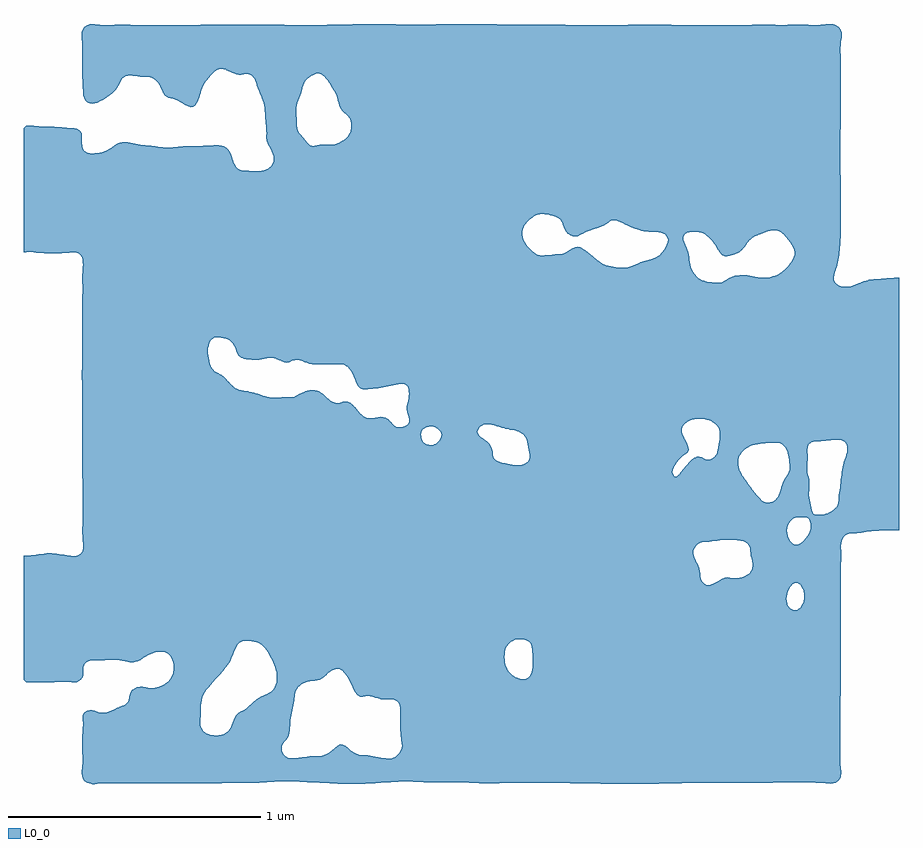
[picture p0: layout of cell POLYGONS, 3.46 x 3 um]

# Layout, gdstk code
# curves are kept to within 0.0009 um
import gdstk
lib = gdstk.Library(unit=1e-6, precision=1e-09)
def R(c, l, rs):  # rectangles x0, y0, x1, y1
    for r in rs: c.add(gdstk.rectangle(r[:2], r[2:], *l))
def P(c, l, *ps):  # polygons
    for p in ps: c.add(gdstk.Polygon(p, *l))
L0_0 = (0, 0)

polygons = lib.new_cell('POLYGONS')
R(polygons, L0_0, [(-1.41,-1.36,-1.16,-1.26), (-0.63,-1,-0.45,-0.77), (-0.45,-1,-0.22,-0.77), (-1.5,-0.77,-1.41,-0.59), (-1.41,-0.77,-1.16,-0.59), (-1.16,-0.77,-0.947,-0.59), (-0.947,-0.77,-0.78,-0.59), (-0.78,-0.77,-0.63,-0.59), (-0.63,-0.77,-0.45,-0.59), (-0.45,-0.77,-0.22,-0.59), (-0.22,-0.77,0.173,-0.59), (0.173,-0.77,0.43,-0.59), (0.43,-0.77,0.87,-0.59), (-1.41,-0.59,-1.16,-0.5), (-1.16,-0.59,-0.947,-0.5), (-0.947,-0.59,-0.78,-0.5), (-0.78,-0.59,-0.63,-0.5), (-0.63,-0.59,-0.45,-0.5), (-0.45,-0.59,-0.22,-0.5), (-0.22,-0.59,0.173,-0.5), (0.173,-0.59,0.43,-0.5), (0.43,-0.59,0.87,-0.5), (-1.41,-0.5,-1.16,-0.27), (-1.16,-0.5,-0.947,-0.27), (-0.947,-0.5,-0.78,-0.27), (-0.78,-0.5,-0.63,-0.27), (-0.63,-0.5,-0.45,-0.27), (-0.45,-0.5,-0.22,-0.27), (-0.22,-0.5,0.173,-0.27), (0.173,-0.5,0.43,-0.27), (-1.41,-0.27,-1.16,-0.12), (-1.16,-0.27,-0.947,-0.12), (-0.947,-0.27,-0.78,-0.12), (-0.78,-0.27,-0.63,-0.12), (-0.63,-0.27,-0.45,-0.12), (-0.45,-0.27,-0.22,-0.12), (-1.5,-0.12,-1.41,0.21), (-1.41,-0.12,-1.16,0.21), (-1.41,0.21,-1.16,0.67)])
P(polygons, L0_0, [(-1.5,1.475),(-1.5,1.475),(-1.501,1.47),(-1.502,1.46),(-1.502,1.45),(-1.501,1.44),(-1.5,1.432),(-1.5,1.431)],
  [(-1.5,1.351),(-1.5,1.35),(-1.5,1.341),(-1.5,1.34),(-1.5,1.333),(-1.5,1.33),(-1.5,1.323)],
  [(-1.72,0.599),(-1.69,0.599),(-1.63,0.595),(-1.6,0.595),(-1.53,0.599),(-1.52,0.598),(-1.51,0.593),(-1.506,0.59),(-1.5,0.581),(-1.5,1.02),(-1.502,1.03),(-1.501,1.06),(-1.502,1.07),(-1.508,1.08),(-1.52,1.087),(-1.53,1.09),(-1.55,1.09),(-1.61,1.095),(-1.66,1.096),(-1.7,1.1),(-1.72,1.1),(-1.73,1.09),(-1.73,0.6)],
  [(-1.5,0.19),(-1.5,0.14),(-1.501,0.13),(-1.501,0.1),(-1.5,0.09),(-1.5,-0.21)],
  [(-1.52,-0.6),(-1.54,-0.601),(-1.59,-0.593),(-1.62,-0.59),(-1.64,-0.59),(-1.68,-0.596),(-1.73,-0.6),(-1.73,-1.09),(-1.72,-1.1),(-1.6,-1.098),(-1.55,-1.098),(-1.53,-1.1),(-1.52,-1.099),(-1.51,-1.094),(-1.505,-1.09),(-1.5,-1.083),(-1.5,-0.584),(-1.503,-0.59),(-1.51,-0.596)],
  [(-1.5,-1.323),(-1.5,-1.326),(-1.5,-1.33),(-1.5,-1.34),(-1.5,-1.35),(-1.5,-1.35),(-1.5,-1.354)],
  [(-1.5,-1.438),(-1.5,-1.44),(-1.5,-1.44),(-1.501,-1.45),(-1.501,-1.46),(-1.5,-1.47),(-1.5,-1.47),(-1.5,-1.471)],
  [(-1.45,1.188),(-1.44,1.191),(-1.41,1.207),(-1.41,1.498),(-1.46,1.502),(-1.47,1.501),(-1.48,1.498),(-1.49,1.492),(-1.5,1.475),(-1.499,1.42),(-1.5,1.32),(-1.496,1.23),(-1.495,1.22),(-1.492,1.21),(-1.487,1.2),(-1.48,1.192),(-1.47,1.188),(-1.46,1.187)],
  [(-1.41,0.999),(-1.44,0.992),(-1.46,0.99),(-1.48,0.993),(-1.491,1),(-1.497,1.01),(-1.5,1.019),(-1.5,0.67),(-1.41,0.67)],
  [(-1.41,0.67),(-1.5,0.67),(-1.5,0.58),(-1.497,0.57),(-1.496,0.55),(-1.499,0.51),(-1.498,0.44),(-1.499,0.43),(-1.5,0.21),(-1.41,0.21)],
  [(-1.499,-0.29),(-1.497,-0.35),(-1.497,-0.46),(-1.499,-0.51),(-1.497,-0.53),(-1.496,-0.57),(-1.5,-0.584),(-1.5,-0.59),(-1.41,-0.59),(-1.41,-0.12),(-1.5,-0.12)],
  [(-1.498,-1.08),(-1.495,-1.07),(-1.496,-1.05),(-1.495,-1.04),(-1.492,-1.03),(-1.483,-1.02),(-1.48,-1.018),(-1.46,-1.013),(-1.41,-1.012),(-1.41,-0.77),(-1.5,-0.77),(-1.5,-1.083)],
  [(-1.497,-1.28),(-1.5,-1.32),(-1.5,-1.36),(-1.498,-1.39),(-1.5,-1.471),(-1.497,-1.48),(-1.49,-1.491),(-1.472,-1.5),(-1.46,-1.502),(-1.45,-1.502),(-1.41,-1.499),(-1.41,-1.22),(-1.42,-1.221),(-1.43,-1.22),(-1.45,-1.212),(-1.46,-1.21),(-1.47,-1.21),(-1.48,-1.213),(-1.49,-1.219),(-1.497,-1.23),(-1.498,-1.24),(-1.496,-1.26)],
  [(-1.405,1.21),(-1.38,1.229),(-1.369,1.24),(-1.361,1.25),(-1.34,1.287),(-1.33,1.295),(-1.32,1.298),(-1.31,1.299),(-1.27,1.294),(-1.23,1.292),(-1.22,1.288),(-1.21,1.282),(-1.198,1.27),(-1.192,1.26),(-1.179,1.23),(-1.172,1.22),(-1.16,1.211),(-1.16,1.497),(-1.31,1.499),(-1.41,1.498),(-1.41,1.207)],
  [(-1.16,1.013),(-1.17,1.013),(-1.27,1.024),(-1.32,1.034),(-1.34,1.035),(-1.35,1.033),(-1.357,1.03),(-1.39,1.008),(-1.41,0.999),(-1.41,0.67),(-1.16,0.67)],
  [(-1.296,-1.02),(-1.28,-1.017),(-1.24,-0.993),(-1.21,-0.982),(-1.2,-0.98),(-1.18,-0.979),(-1.17,-0.982),(-1.16,-0.987),(-1.16,-0.77),(-1.41,-0.77),(-1.41,-1.011),(-1.37,-1.01),(-1.35,-1.012),(-1.32,-1.019)],
  [(-1.16,-1.097),(-1.18,-1.112),(-1.2,-1.12),(-1.21,-1.122),(-1.23,-1.123),(-1.26,-1.118),(-1.27,-1.118),(-1.283,-1.12),(-1.3,-1.129),(-1.308,-1.14),(-1.31,-1.145),(-1.315,-1.17),(-1.32,-1.179),(-1.33,-1.188),(-1.37,-1.206),(-1.4,-1.218),(-1.41,-1.22),(-1.41,-1.26),(-1.16,-1.26)],
  [(-1.16,-1.36),(-1.41,-1.36),(-1.41,-1.499),(-1.16,-1.5)],
  [(-1.06,1.174),(-1.05,1.182),(-1.04,1.202),(-1.025,1.25),(-1.01,1.276),(-0.982,1.31),(-0.97,1.32),(-0.96,1.324),(-0.947,1.325),(-0.947,1.5),(-1.16,1.497),(-1.16,1.211),(-1.13,1.203),(-1.08,1.176),(-1.07,1.173)],
  [(-0.947,1.02),(-0.96,1.022),(-0.98,1.022),(-1.03,1.019),(-1.09,1.019),(-1.16,1.013),(-1.16,0.67),(-0.947,0.67)],
  [(-1.002,0.22),(-0.998,0.24),(-0.99,0.254),(-0.982,0.26),(-0.97,0.264),(-0.947,0.262),(-0.947,0.67),(-1.16,0.67),(-1.16,0.21),(-1.002,0.21)],
  [(-0.947,0.113),(-0.95,0.116),(-0.97,0.125),(-0.977,0.13),(-0.99,0.146),(-0.998,0.17),(-1,0.18),(-1.002,0.21),(-1.16,0.21),(-1.16,-0.12),(-0.947,-0.12)],
  [(-1.032,-1.25),(-1.03,-1.23),(-1.03,-1.19),(-1.025,-1.16),(-1.015,-1.14),(-1.008,-1.13),(-0.98,-1.095),(-0.947,-1.06),(-0.947,-0.77),(-1.16,-0.77),(-1.16,-0.987),(-1.15,-0.998),(-1.144,-1.01),(-1.14,-1.02),(-1.137,-1.04),(-1.137,-1.05),(-1.142,-1.07),(-1.153,-1.09),(-1.16,-1.097),(-1.16,-1.26),(-1.033,-1.26)],
  [(-0.947,-1.308),(-0.97,-1.311),(-0.99,-1.309),(-1,-1.306),(-1.012,-1.3),(-1.023,-1.29),(-1.032,-1.27),(-1.033,-1.26),(-1.16,-1.26),(-1.16,-1.36),(-0.947,-1.36)],
  [(-1.14,-1.5),(-0.947,-1.499),(-0.947,-1.36),(-1.16,-1.36),(-1.16,-1.5)],
  [(-0.78,1.5),(-0.947,1.5),(-0.947,1.325),(-0.93,1.321),(-0.91,1.311),(-0.89,1.303),(-0.87,1.302),(-0.85,1.305),(-0.84,1.304),(-0.83,1.299),(-0.82,1.289),(-0.816,1.28),(-0.806,1.25),(-0.785,1.2),(-0.78,1.181)],
  [(-0.78,0.923),(-0.797,0.92),(-0.82,0.919),(-0.84,0.921),(-0.86,0.921),(-0.87,0.923),(-0.88,0.927),(-0.89,0.936),(-0.899,0.95),(-0.91,0.983),(-0.918,1),(-0.93,1.012),(-0.94,1.018),(-0.947,1.02),(-0.947,0.67),(-0.78,0.67)],
  [(-0.8,0.174),(-0.78,0.178),(-0.78,0.67),(-0.947,0.67),(-0.947,0.262),(-0.93,0.258),(-0.92,0.253),(-0.904,0.24),(-0.893,0.22),(-0.886,0.2),(-0.88,0.19),(-0.87,0.183),(-0.86,0.179),(-0.85,0.177),(-0.82,0.174)],
  [(-0.78,0.031),(-0.83,0.047),(-0.88,0.056),(-0.9,0.067),(-0.914,0.08),(-0.942,0.11),(-0.947,0.113),(-0.947,-0.12),(-0.78,-0.12)],
  [(-0.94,-1.052),(-0.917,-1.02),(-0.89,-0.959),(-0.884,-0.95),(-0.872,-0.94),(-0.86,-0.936),(-0.84,-0.936),(-0.82,-0.939),(-0.8,-0.946),(-0.79,-0.952),(-0.78,-0.961),(-0.78,-0.77),(-0.947,-0.77),(-0.947,-1.06)],
  [(-0.78,-1.152),(-0.81,-1.167),(-0.82,-1.175),(-0.85,-1.204),(-0.87,-1.214),(-0.89,-1.23),(-0.901,-1.25),(-0.91,-1.275),(-0.92,-1.291),(-0.93,-1.3),(-0.947,-1.308),(-0.947,-1.36),(-0.78,-1.36)],
  [(-0.94,-1.498),(-0.83,-1.498),(-0.78,-1.495),(-0.78,-1.36),(-0.947,-1.36),(-0.947,-1.499)],
  [(-0.775,1.14),(-0.771,1.09),(-0.77,1.043),(-0.766,1.03),(-0.746,0.99),(-0.743,0.98),(-0.742,0.96),(-0.752,0.94),(-0.764,0.93),(-0.78,0.923),(-0.78,0.67),(-0.63,0.67),(-0.63,1.057),(-0.641,1.07),(-0.647,1.08),(-0.65,1.09),(-0.654,1.15),(-0.654,1.17),(-0.652,1.18),(-0.646,1.2),(-0.634,1.23),(-0.63,1.246),(-0.63,1.498),(-0.78,1.5),(-0.78,1.18)],
  [(-0.77,0.181),(-0.76,0.183),(-0.75,0.183),(-0.74,0.181),(-0.713,0.17),(-0.69,0.164),(-0.68,0.166),(-0.66,0.173),(-0.65,0.174),(-0.64,0.173),(-0.63,0.17),(-0.63,0.67),(-0.78,0.67),(-0.78,0.178)],
  [(-0.63,0.045),(-0.657,0.03),(-0.67,0.026),(-0.7,0.027),(-0.72,0.025),(-0.75,0.025),(-0.76,0.026),(-0.78,0.031),(-0.78,-0.12),(-0.63,-0.12)],
  [(-0.74,-1.03),(-0.731,-1.06),(-0.73,-1.07),(-0.73,-1.09),(-0.731,-1.1),(-0.734,-1.11),(-0.738,-1.12),(-0.75,-1.135),(-0.756,-1.14),(-0.77,-1.148),(-0.78,-1.152),(-0.78,-1.36),(-0.711,-1.36),(-0.71,-1.35),(-0.704,-1.34),(-0.687,-1.32),(-0.682,-1.31),(-0.678,-1.29),(-0.676,-1.25),(-0.657,-1.14),(-0.647,-1.12),(-0.64,-1.113),(-0.63,-1.106),(-0.63,-0.77),(-0.78,-0.77),(-0.78,-0.961),(-0.76,-0.99)],
  [(-0.77,-1.495),(-0.71,-1.491),(-0.67,-1.491),(-0.63,-1.494),(-0.63,-1.397),(-0.67,-1.401),(-0.68,-1.401),(-0.69,-1.397),(-0.7,-1.389),(-0.706,-1.38),(-0.71,-1.37),(-0.711,-1.36),(-0.78,-1.36),(-0.78,-1.495)],
  [(-0.626,1.26),(-0.616,1.28),(-0.61,1.286),(-0.59,1.299),(-0.58,1.304),(-0.57,1.307),(-0.56,1.306),(-0.55,1.301),(-0.54,1.293),(-0.529,1.28),(-0.504,1.24),(-0.494,1.22),(-0.484,1.18),(-0.48,1.17),(-0.472,1.16),(-0.45,1.14),(-0.45,1.5),(-0.5,1.5),(-0.56,1.497),(-0.63,1.498),(-0.63,1.246)],
  [(-0.45,1.056),(-0.456,1.05),(-0.471,1.04),(-0.49,1.03),(-0.5,1.027),(-0.52,1.024),(-0.55,1.025),(-0.59,1.019),(-0.6,1.023),(-0.608,1.03),(-0.63,1.057),(-0.63,0.67),(-0.45,0.67)],
  [(-0.45,0.67),(-0.63,0.67),(-0.63,0.17),(-0.62,0.166),(-0.601,0.16),(-0.58,0.157),(-0.49,0.158),(-0.47,0.157),(-0.46,0.154),(-0.45,0.147)],
  [(-0.45,0.008),(-0.46,0.009),(-0.47,0.008),(-0.49,0.003),(-0.5,0.004),(-0.52,0.014),(-0.55,0.041),(-0.56,0.048),(-0.57,0.052),(-0.59,0.055),(-0.6,0.054),(-0.618,0.05),(-0.63,0.045),(-0.63,-0.12),(-0.45,-0.12)],
  [(-0.62,-1.102),(-0.6,-1.095),(-0.57,-1.092),(-0.56,-1.089),(-0.544,-1.08),(-0.52,-1.058),(-0.5,-1.048),(-0.49,-1.047),(-0.48,-1.049),(-0.47,-1.055),(-0.46,-1.066),(-0.45,-1.081),(-0.45,-1),(-0.63,-1),(-0.63,-1.106)],
  [(-0.45,-1.359),(-0.46,-1.351),(-0.47,-1.346),(-0.48,-1.345),(-0.49,-1.35),(-0.52,-1.376),(-0.53,-1.383),(-0.54,-1.387),(-0.56,-1.392),(-0.6,-1.393),(-0.63,-1.397),(-0.63,-1.494),(-0.57,-1.496),(-0.49,-1.501),(-0.45,-1.501)],
  [(-0.22,1.5),(-0.26,1.501),(-0.45,1.5),(-0.45,1.14),(-0.44,1.126),(-0.436,1.11),(-0.435,1.1),(-0.436,1.09),(-0.441,1.07),(-0.45,1.056),(-0.45,0.67),(-0.22,0.67)],
  [(-0.37,0.059),(-0.33,0.063),(-0.24,0.08),(-0.23,0.08),(-0.22,0.077),(-0.22,0.67),(-0.45,0.67),(-0.45,0.147),(-0.44,0.136),(-0.43,0.12),(-0.41,0.072),(-0.4,0.062),(-0.39,0.058)],
  [(-0.22,-0.086),(-0.229,-0.09),(-0.24,-0.092),(-0.25,-0.092),(-0.26,-0.09),(-0.27,-0.083),(-0.291,-0.06),(-0.3,-0.055),(-0.31,-0.052),(-0.32,-0.051),(-0.36,-0.057),(-0.37,-0.056),(-0.38,-0.053),(-0.4,-0.038),(-0.43,-0.002),(-0.44,0.005),(-0.45,0.008),(-0.45,-0.12),(-0.22,-0.12)],
  [(-0.44,-1.501),(-0.38,-1.501),(-0.26,-1.493),(-0.22,-1.492),(-0.22,-1),(-0.45,-1),(-0.45,-1.081),(-0.444,-1.09),(-0.434,-1.11),(-0.426,-1.13),(-0.42,-1.14),(-0.41,-1.152),(-0.4,-1.157),(-0.39,-1.158),(-0.37,-1.154),(-0.36,-1.155),(-0.34,-1.162),(-0.32,-1.167),(-0.27,-1.168),(-0.26,-1.171),(-0.248,-1.18),(-0.244,-1.19),(-0.243,-1.2),(-0.242,-1.29),(-0.235,-1.35),(-0.237,-1.36),(-0.241,-1.37),(-0.25,-1.385),(-0.26,-1.394),(-0.27,-1.399),(-0.28,-1.402),(-0.31,-1.4),(-0.36,-1.39),(-0.4,-1.388),(-0.422,-1.38),(-0.437,-1.37),(-0.45,-1.359),(-0.45,-1.501)],
  [(0.173,1.5),(0.03,1.502),(-0.22,1.5),(-0.22,0.67),(0.173,0.67)],
  [(-0.079,-0.12),(-0.08,-0.13),(-0.084,-0.14),(-0.09,-0.148),(-0.1,-0.157),(-0.11,-0.161),(-0.12,-0.163),(-0.14,-0.16),(-0.153,-0.15),(-0.158,-0.14),(-0.161,-0.12),(-0.22,-0.12),(-0.22,-0.27),(0.173,-0.27),(0.173,-0.235),(0.15,-0.229),(0.14,-0.224),(0.13,-0.216),(0.126,-0.21),(0.123,-0.2),(0.123,-0.19),(0.118,-0.17),(0.112,-0.16),(0.1,-0.148),(0.08,-0.134),(0.07,-0.125),(0.066,-0.12),(0.063,-0.11),(0.066,-0.1),(0.073,-0.09),(0.08,-0.085),(0.09,-0.081),(0.098,-0.08),(0.11,-0.08),(0.13,-0.084),(0.173,-0.097),(0.173,0.67),(-0.22,0.67),(-0.22,0.077),(-0.213,0.07),(-0.209,0.06),(-0.207,0.04),(-0.209,0.02),(-0.216,-0.01),(-0.216,-0.02),(-0.215,-0.03),(-0.208,-0.05),(-0.206,-0.06),(-0.207,-0.07),(-0.21,-0.079),(-0.22,-0.086),(-0.22,-0.12),(-0.161,-0.12),(-0.159,-0.11),(-0.15,-0.097),(-0.134,-0.09),(-0.12,-0.088),(-0.11,-0.089),(-0.1,-0.093),(-0.091,-0.1),(-0.082,-0.11)],
  [(0.17,-0.99),(0.17,-0.986),(0.171,-0.98),(0.173,-0.97),(0.173,-0.969),(0.173,-0.77),(-0.22,-0.77),(-0.22,-1),(0.169,-1)],
  [(0.11,-1.499),(0.173,-1.498),(0.173,-1.03),(0.169,-1),(-0.22,-1),(-0.22,-1.492),(-0.12,-1.496),(0.02,-1.496),(0.04,-1.498)],
  [(0.43,1.498),(0.31,1.5),(0.173,1.5),(0.173,0.67),(0.241,0.67),(0.241,0.68),(0.246,0.7),(0.251,0.71),(0.259,0.72),(0.27,0.73),(0.29,0.744),(0.31,0.751),(0.32,0.752),(0.34,0.75),(0.373,0.74),(0.38,0.737),(0.39,0.73),(0.4,0.714),(0.404,0.7),(0.41,0.686),(0.42,0.673),(0.43,0.667)],
  [(0.43,0.61),(0.415,0.6),(0.4,0.594),(0.39,0.592),(0.32,0.586),(0.31,0.587),(0.3,0.59),(0.29,0.596),(0.28,0.604),(0.26,0.624),(0.245,0.65),(0.241,0.67),(0.173,0.67),(0.173,-0.097),(0.22,-0.107),(0.23,-0.111),(0.244,-0.12),(0.252,-0.13),(0.257,-0.14),(0.27,-0.2),(0.27,-0.211),(0.268,-0.22),(0.261,-0.23),(0.25,-0.237),(0.24,-0.241),(0.21,-0.242),(0.173,-0.235),(0.173,-0.27),(0.43,-0.27)],
  [(0.43,-0.77),(0.173,-0.77),(0.173,-0.969),(0.177,-0.96),(0.184,-0.95),(0.195,-0.94),(0.21,-0.932),(0.23,-0.929),(0.24,-0.929),(0.25,-0.931),(0.268,-0.94),(0.275,-0.95),(0.278,-0.96),(0.282,-1.01),(0.282,-1.03),(0.28,-1.05),(0.274,-1.07),(0.266,-1.08),(0.26,-1.084),(0.25,-1.087),(0.23,-1.086),(0.21,-1.079),(0.2,-1.072),(0.188,-1.06),(0.181,-1.05),(0.173,-1.03),(0.173,-1.498),(0.36,-1.497),(0.43,-1.499)],
  [(0.816,0.64),(0.801,0.61),(0.794,0.6),(0.78,0.586),(0.76,0.576),(0.707,0.56),(0.67,0.544),(0.65,0.538),(0.62,0.539),(0.57,0.549),(0.56,0.553),(0.54,0.566),(0.486,0.61),(0.47,0.619),(0.46,0.621),(0.45,0.62),(0.43,0.61),(0.43,-0.27),(0.834,-0.27),(0.835,-0.26),(0.84,-0.246),(0.85,-0.231),(0.87,-0.209),(0.87,1.498),(0.83,1.499),(0.66,1.499),(0.59,1.497),(0.43,1.498),(0.43,0.667),(0.44,0.664),(0.45,0.663),(0.46,0.664),(0.48,0.672),(0.49,0.678),(0.56,0.704),(0.59,0.724),(0.6,0.727),(0.61,0.726),(0.62,0.723),(0.67,0.699),(0.71,0.685),(0.75,0.68),(0.78,0.679),(0.79,0.677),(0.8,0.673),(0.805,0.67),(0.814,0.66),(0.817,0.65)],
  [(0.87,-0.266),(0.867,-0.27),(0.86,-0.279),(0.859,-0.28),(0.85,-0.287),(0.84,-0.286),(0.836,-0.28),(0.834,-0.27),(0.43,-0.27),(0.43,-0.5),(0.87,-0.5)],
  [(0.69,-1.501),(0.78,-1.501),(0.87,-1.499),(0.87,-0.77),(0.43,-0.77),(0.43,-1.499),(0.55,-1.501)],
  [(1.014,1.498),(0.99,1.497),(0.87,1.498),(0.87,0.66),(0.876,0.66),(0.882,0.67),(0.89,0.676),(0.903,0.68),(0.93,0.681),(0.95,0.676),(0.97,0.666),(0.988,0.65),(1,0.634),(1.014,0.609)],
  [(0.87,-0.208),(0.89,-0.194),(0.894,-0.19),(0.898,-0.18),(0.897,-0.17),(0.873,-0.12),(0.87,-0.11),(0.87,-0.099),(0.873,-0.09),(0.88,-0.08),(0.9,-0.066),(0.93,-0.058),(0.95,-0.058),(0.96,-0.059),(0.99,-0.069),(1.005,-0.08),(1.014,-0.091),(1.014,0.479),(1,0.479),(0.98,0.482),(0.95,0.49),(0.93,0.502),(0.923,0.51),(0.916,0.52),(0.907,0.54),(0.896,0.6),(0.89,0.618),(0.876,0.65),(0.876,0.66),(0.87,0.66)],
  [(0.892,-0.24),(0.87,-0.266),(0.87,-0.5),(1.014,-0.5),(1.014,-0.175),(1.011,-0.19),(1.007,-0.2),(1,-0.21),(0.99,-0.217),(0.98,-0.22),(0.97,-0.22),(0.95,-0.211),(0.94,-0.209),(0.93,-0.209),(0.92,-0.213),(0.911,-0.22)],
  [(0.917,-0.58),(0.92,-0.57),(0.927,-0.56),(0.94,-0.55),(0.96,-0.545),(0.98,-0.544),(1.014,-0.539),(1.014,-0.5),(0.87,-0.5),(0.87,-0.59),(0.917,-0.59)],
  [(1.014,-0.7),(0.99,-0.713),(0.98,-0.716),(0.97,-0.716),(0.96,-0.711),(0.95,-0.7),(0.946,-0.69),(0.94,-0.653),(0.918,-0.6),(0.917,-0.59),(0.87,-0.59),(0.87,-0.77),(1.014,-0.77)],
  [(0.87,-1.499),(0.93,-1.497),(1.014,-1.497),(1.014,-0.77),(0.87,-0.77)],
  [(1.06,0.586),(1.075,0.59),(1.09,0.596),(1.1,0.602),(1.11,0.611),(1.14,0.649),(1.15,0.657),(1.16,0.663),(1.21,0.682),(1.21,1.499),(1.014,1.498),(1.014,0.609),(1.02,0.599),(1.03,0.588),(1.04,0.584),(1.05,0.584)],
  [(1.094,-0.22),(1.096,-0.21),(1.108,-0.19),(1.118,-0.18),(1.133,-0.17),(1.15,-0.163),(1.163,-0.16),(1.21,-0.154),(1.21,0.5),(1.18,0.5),(1.14,0.507),(1.12,0.509),(1.08,0.506),(1.062,0.5),(1.03,0.482),(1.014,0.479),(1.014,-0.091),(1.018,-0.1),(1.021,-0.12),(1.019,-0.15),(1.014,-0.175),(1.014,-0.23),(1.093,-0.23)],
  [(1.21,-0.39),(1.2,-0.388),(1.19,-0.384),(1.185,-0.38),(1.17,-0.364),(1.136,-0.32),(1.108,-0.28),(1.098,-0.26),(1.093,-0.24),(1.093,-0.23),(1.014,-0.23),(1.014,-0.5),(1.21,-0.5)],
  [(1.21,-0.5),(1.014,-0.5),(1.014,-0.539),(1.05,-0.536),(1.08,-0.537),(1.11,-0.541),(1.129,-0.55),(1.137,-0.56),(1.141,-0.57),(1.144,-0.6),(1.151,-0.63),(1.15,-0.651),(1.146,-0.66),(1.14,-0.668),(1.13,-0.675),(1.11,-0.684),(1.09,-0.688),(1.08,-0.689),(1.05,-0.685),(1.04,-0.687),(1.014,-0.7),(1.014,-0.77),(1.21,-0.77)],
  [(1.14,-1.498),(1.21,-1.497),(1.21,-0.77),(1.014,-0.77),(1.014,-1.497)],
  [(1.23,0.686),(1.25,0.685),(1.26,0.681),(1.27,0.673),(1.292,0.65),(1.306,0.63),(1.315,0.61),(1.317,0.6),(1.317,0.59),(1.314,0.58),(1.309,0.57),(1.29,0.543),(1.277,0.53),(1.25,0.511),(1.22,0.501),(1.21,0.5),(1.21,-0.154),(1.25,-0.153),(1.26,-0.156),(1.27,-0.161),(1.28,-0.171),(1.289,-0.19),(1.295,-0.22),(1.298,-0.25),(1.297,-0.26),(1.294,-0.27),(1.27,-0.312),(1.258,-0.35),(1.25,-0.369),(1.24,-0.381),(1.23,-0.386),(1.22,-0.389),(1.21,-0.39),(1.21,-0.5),(1.286,-0.5),(1.29,-0.479),(1.3,-0.463),(1.31,-0.454),(1.33,-0.447),(1.36,-0.448),(1.37,-0.452),(1.37,-0.283),(1.366,-0.26),(1.366,-0.24),(1.368,-0.22),(1.367,-0.18),(1.37,-0.163),(1.37,1.499),(1.28,1.498),(1.21,1.499),(1.21,0.682)],
  [(1.22,-1.497),(1.37,-1.496),(1.37,-0.516),(1.361,-0.53),(1.34,-0.551),(1.33,-0.557),(1.32,-0.557),(1.307,-0.55),(1.298,-0.54),(1.289,-0.52),(1.286,-0.5),(1.21,-0.5),(1.21,-0.77),(1.284,-0.77),(1.285,-0.76),(1.29,-0.74),(1.3,-0.721),(1.311,-0.71),(1.32,-0.706),(1.33,-0.706),(1.34,-0.715),(1.349,-0.73),(1.352,-0.74),(1.355,-0.76),(1.35,-0.787),(1.34,-0.805),(1.33,-0.813),(1.32,-0.815),(1.31,-0.814),(1.301,-0.81),(1.292,-0.8),(1.287,-0.79),(1.284,-0.77),(1.21,-0.77),(1.21,-1.497)],
  [(1.372,-0.16),(1.38,-0.153),(1.39,-0.149),(1.48,-0.141),(1.499,-0.142),(1.499,0.466),(1.49,0.47),(1.477,0.48),(1.472,0.49),(1.471,0.5),(1.473,0.51),(1.486,0.55),(1.49,0.568),(1.498,0.64),(1.499,0.66),(1.499,0.9),(1.498,0.91),(1.499,1.48),(1.49,1.492),(1.48,1.498),(1.475,1.5),(1.46,1.502),(1.41,1.498),(1.37,1.499),(1.37,-0.163)],
  [(1.39,-1.496),(1.42,-1.497),(1.46,-1.501),(1.47,-1.5),(1.48,-1.497),(1.49,-1.49),(1.497,-1.48),(1.499,-1.474),(1.499,-1.432),(1.497,-1.41),(1.497,-1.22),(1.499,-1.15),(1.499,-0.314),(1.492,-0.36),(1.49,-0.39),(1.487,-0.4),(1.481,-0.41),(1.47,-0.42),(1.45,-0.431),(1.43,-0.437),(1.4,-0.438),(1.39,-0.433),(1.388,-0.43),(1.384,-0.42),(1.38,-0.401),(1.373,-0.36),(1.375,-0.31),(1.37,-0.283),(1.37,-0.452),(1.376,-0.46),(1.381,-0.48),(1.381,-0.49),(1.378,-0.5),(1.37,-0.516),(1.37,-1.496)],
  [(1.499,1.42),(1.5,1.43),(1.5,1.433),(1.501,1.44),(1.502,1.45),(1.503,1.46),(1.502,1.47),(1.5,1.476),(1.499,1.48),(1.499,1.417)],
  [(1.499,1.27),(1.499,1.28),(1.499,1.29),(1.499,1.31),(1.499,1.32),(1.499,1.33),(1.499,1.34),(1.499,1.35),(1.499,1.36),(1.499,1.367),(1.499,1.261)],
  [(1.499,1.16),(1.499,1.17),(1.499,1.18),(1.499,1.19),(1.499,1.2),(1.499,1.21),(1.499,1.22),(1.499,1.23),(1.499,1.24),(1.499,1.25),(1.499,1.259),(1.499,1.15)],
  [(1.499,0.67),(1.499,0.72),(1.5,0.73),(1.5,0.77),(1.499,0.78),(1.499,0.856)],
  [(1.499,-0.66),(1.501,-0.62),(1.5,-0.57),(1.501,-0.55),(1.503,-0.54),(1.507,-0.53),(1.514,-0.52),(1.53,-0.512),(1.562,-0.51),(1.63,-0.501),(1.73,-0.5),(1.73,0.5),(1.69,0.498),(1.65,0.494),(1.63,0.494),(1.61,0.491),(1.59,0.485),(1.55,0.469),(1.53,0.463),(1.51,0.463),(1.499,0.466),(1.499,-0.142),(1.514,-0.15),(1.522,-0.16),(1.525,-0.17),(1.524,-0.19),(1.51,-0.233),(1.504,-0.26),(1.499,-0.31)],
  [(1.499,-1.13),(1.499,-1.07),(1.5,-1.06),(1.5,-0.94),(1.499,-0.93),(1.499,-0.8),(1.5,-0.79),(1.5,-0.78),(1.499,-0.77),(1.499,-0.7)],
  [(1.5,-1.47),(1.5,-1.469),(1.501,-1.46),(1.501,-1.45),(1.5,-1.443),(1.5,-1.44),(1.499,-1.432),(1.499,-1.474)])

lib.write_gds('POLYGONS.gds')
